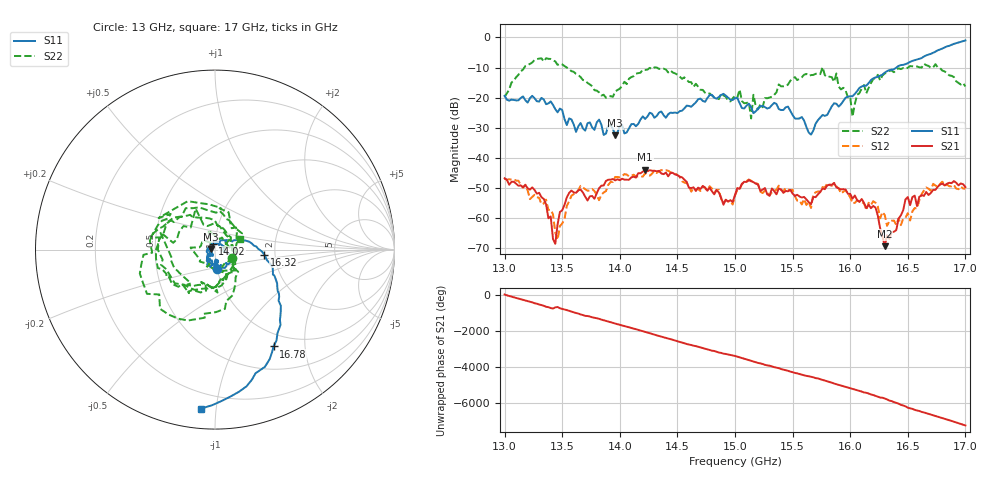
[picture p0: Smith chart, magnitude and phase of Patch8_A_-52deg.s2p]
!Keysight Technologies,P9374A,MY57211810,A.19.30.04
!Date: Friday, May 09, 2025 09:19:27
!Correction: S11(Cdelta 2-Port  )
!S21(Cdelta 2-Port  )
!S12(Cdelta 2-Port  )
!S22(Cdelta 2-Port  )
!S2P File: Measurements: S11, S21, S12, S22:
# Hz S  dB  R 50
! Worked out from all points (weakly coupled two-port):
!   201 points, 13 GHz to 17 GHz, reference 50 ohm
!   highest |S21| = -43.86 dB at 14.22 GHz (marker M1); lowest = -69.2 dB at 16.3 GHz (marker M2)
!   lowest |S11| = -32.4 dB at 13.96 GHz (marker M3), VSWR 1.05, Z = 47.7 + j0.338 ohm
!   |S11| at or under -10 dB: start of sweep to 16.4 GHz
!   |S22| runs from -26.9 to -6.9 dB; largest |S21 - S12| = 0.0014
!   S11 on the Smith chart (normalised r, x): 13 GHz: 1.00, -0.22; 14.02 GHz: 0.97, +0.06; 16.32 GHz: 1.75, -0.10; 16.78 GHz: 0.81, -1.45; 17 GHz: 0.11, -0.91
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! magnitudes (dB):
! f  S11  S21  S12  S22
! 13 GHz  -19.4  -46.7  -46.9  -19.7
! 13.3 GHz  -21.3  -51.5  -53.3  -7.0
! 13.44 GHz  -23.8  -68.5  -64.7  -8.0
! 13.56 GHz  -26.9  -51.6  -54.3  -10.6
! 13.68 GHz  -30.2  -51.5  -49.8  -14.1
! 13.96 GHz  -32.4  -47.4  -46.3  -17.9
! 14.02 GHz  -29.1  -46.9  -46.0  -16.1
! 14.22 GHz  -27.0  -43.9  -45.0  -10.8
! 14.34 GHz  -25.0  -44.3  -44.4  -10.4
! 15 GHz  -20.2  -52.3  -52.4  -19.3
! 15.14 GHz  -23.2  -47.7  -47.5  -26.9
! 15.16 GHz  -25.1  -48.0  -47.9  -19.0
! 15.68 GHz  -30.9  -52.9  -51.9  -12.4
! 15.88 GHz  -22.0  -49.7  -49.4  -12.0
! 16.02 GHz  -19.5  -53.5  -55.0  -26.3
! 16.22 GHz  -13.3  -56.5  -54.9  -13.3
! 16.3 GHz  -11.7  -69.2  -58.9  -12.0
! 16.32 GHz  -11.2  -65.6  -62.5  -11.7
! 16.34 GHz  -10.9  -66.8  -60.9  -11.1
! 16.48 GHz  -8.9  -53.7  -59.8  -10.4
! 16.78 GHz  -4.0  -48.8  -48.6  -10.2
! 17 GHz  -1.0  -49.6  -50.1  -16.3
